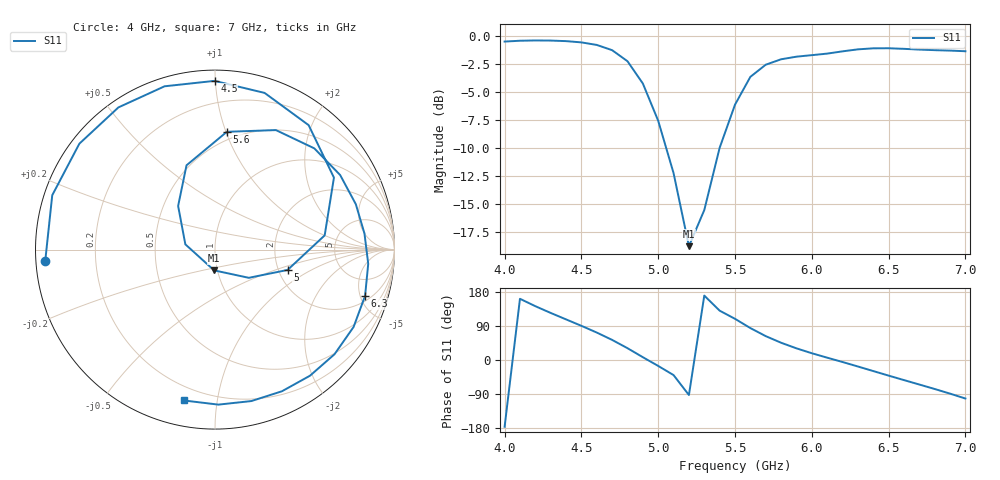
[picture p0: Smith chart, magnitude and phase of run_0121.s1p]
! Touchstone file exported from HFSS 2024.2.0
!  File:  C:/Users/wsak9/Desktop/Sim Fast/Widenad Patch/WP_AI_V1_sweep.aedt
!  Generated:  07:57:27 PM Oct 13, 2026
!  Design:  A1_model
!  Project:  WP_AI_V1_sweep
!  Setup:  Setup1
!  Solution:  Sweep
! Variables:
!  Air_gap = 3.33mm
!  Curve_Amp1 = 3.86
!  Curve_len1 = 1
!  Curve_pos = 10.365mm
!  Extra = 6.98mm
!  H_sub = 0.79mm
!  L_Patch = 16.73mm
!  L_Patch1 = 16.32mm
!  Sx = 0.73mm
!  Sy = 3.62mm
!  WS = 0.76mm
!  W_Patch = 17.17mm
!  W_Patch1 = 9.34mm
!Data is not renormalized
# GHz S MA
! Terminal data exported
! Port[1] = 1
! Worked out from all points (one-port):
!   31 points, 4 GHz to 7 GHz, reference per port
!   lowest |S11| = -18.7 dB at 5.2 GHz (marker M1), VSWR 1.26
!   |S11| at or under -10 dB: 5.053 GHz to 5.399 GHz (346.2 MHz wide, 6.63 % of centre)
!   S11 on the Smith chart (normalised r, x): 4 GHz: 0.03, -0.03; 4.5 GHz: 0.06, +1.00; 5 GHz: 2.24, -0.62; 5.6 GHz: 0.43, +1.01; 6.3 GHz: 2.51, -5.52; 7 GHz: 0.13, -0.81
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4  0.9479 -176.2
4.1  0.956 161.5
4.2  0.9588 142.0
4.3  0.9577 124.2
4.4  0.9522 107.2
4.5  0.94 90.2
4.6  0.9157 72.4
4.7  0.8677 53.0
4.8  0.7745 31.2
4.9  0.6162 7.4
5  0.42 -15.7
5.1  0.2454 -39.8
5.2  0.1158 -92.4
5.3  0.1678 169.9
5.4  0.3182 130.2
5.5  0.4957 108.7
5.6  0.6597 84.3
5.7  0.7473 63.0
5.8  0.7901 45.6
5.9  0.8116 30.8
6  0.8244 17.9
6.1  0.8375 6.2
6.3  0.875 -17.1
6.4  0.8843 -29.2
6.5  0.885 -41.2
6.7  0.873 -64.7
6.9  0.8639 -88.8
7  0.8583 -101.7
